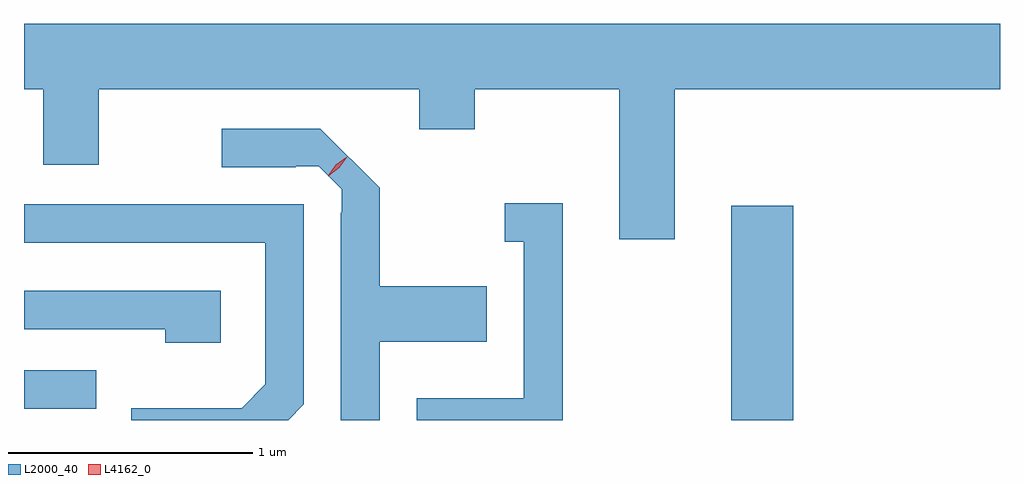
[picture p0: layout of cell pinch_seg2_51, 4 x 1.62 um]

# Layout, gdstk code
import gdstk
lib = gdstk.Library(unit=1e-6, precision=1e-09)
def R(c, l, rs):  # rectangles x0, y0, x1, y1
    for r in rs: c.add(gdstk.rectangle(r[:2], r[2:], *l))
def P(c, l, *ps):  # polygons
    for p in ps: c.add(gdstk.Polygon(p, *l))
L2000_40 = (2000, 40)
L4162_0 = (4162, 0)

pinch_seg2_51 = lib.new_cell('pinch_seg2_51')
R(pinch_seg2_51, L2000_40, [(1106.571,1113.559,1106.824,1114.439), (1103.672,1113.606,1103.968,1113.764)])
P(pinch_seg2_51, L2000_40, [(1106.339,1114.916),(1107.672,1114.916),(1107.672,1115.184),(1103.672,1115.184),(1103.672,1114.916),(1103.751,1114.916),(1103.751,1114.606),(1103.979,1114.606),(1103.979,1114.916),(1105.291,1114.916),(1105.291,1114.751),(1105.519,1114.751),(1105.519,1114.916),(1106.111,1114.916),(1106.111,1114.301),(1106.339,1114.301)],
  [(1105.129,1113.881),(1105.569,1113.881),(1105.569,1114.109),(1105.129,1114.109),(1105.129,1114.511),(1104.886,1114.754),(1104.483,1114.754),(1104.483,1114.596),(1104.785,1114.596),(1104.785,1114.6),(1104.88,1114.6),(1104.975,1114.505),(1104.975,1114.41),(1104.971,1114.41),(1104.971,1113.559),(1105.129,1113.559)],
  [(1105.879,1114.449),(1105.643,1114.449),(1105.643,1114.291),(1105.721,1114.291),(1105.721,1113.649),(1105.281,1113.649),(1105.281,1113.559),(1105.879,1113.559)],
  [(1104.819,1113.624),(1104.819,1114.444),(1103.672,1114.444),(1103.672,1114.286),(1104.661,1114.286),(1104.661,1113.707),(1104.564,1113.609),(1104.111,1113.609),(1104.111,1113.559),(1104.754,1113.559)],
  [(1104.479,1114.089),(1103.672,1114.089),(1103.672,1113.931),(1104.251,1113.931),(1104.251,1113.876),(1104.479,1113.876)])
P(pinch_seg2_51, L4162_0, [(1104.918,1114.56),(1104.918,1114.561),(1104.95,1114.607),(1104.996,1114.639),(1104.996,1114.639),(1104.996,1114.639),(1104.964,1114.593),(1104.919,1114.56)],
  [(1104.921,1114.564),(1104.921,1114.565),(1104.95,1114.607),(1104.993,1114.636),(1104.994,1114.636),(1104.994,1114.636),(1104.965,1114.593),(1104.922,1114.564)])

lib.write_gds('pinch_seg2_51.gds')
